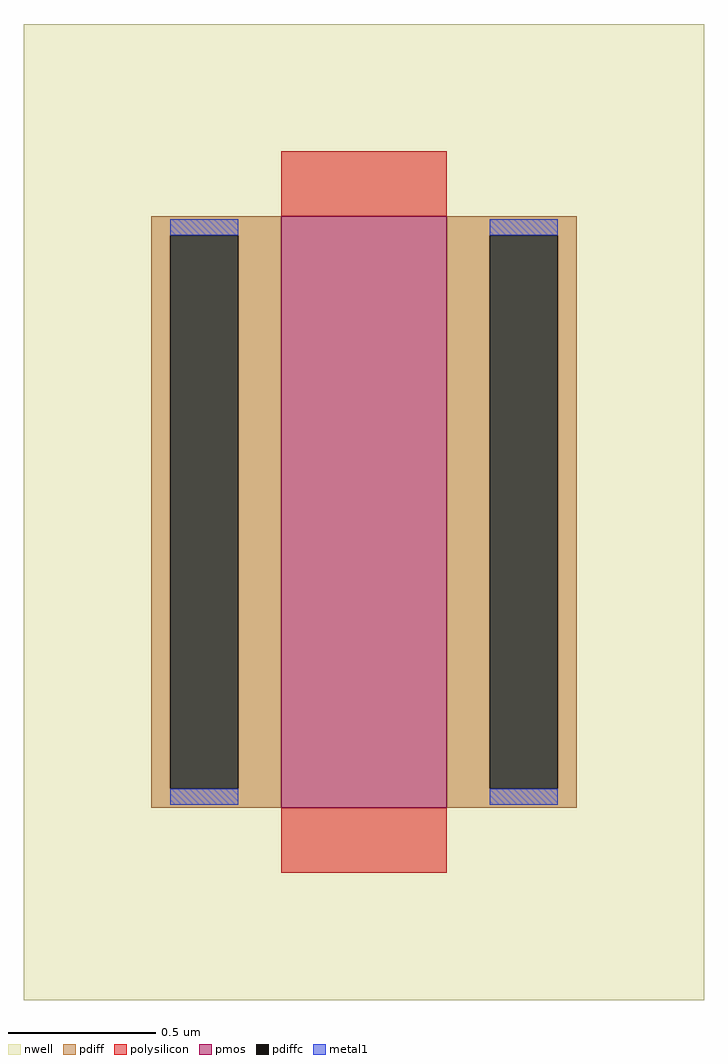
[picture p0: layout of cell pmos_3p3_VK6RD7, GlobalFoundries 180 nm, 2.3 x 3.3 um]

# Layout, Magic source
magic
tech gf180mcuC
magscale 1 10
<< nwell >>
rect -230 -330 230 330
<< pmos >>
rect -56 -200 56 200
<< pdiff >>
rect -144 187 -56 200
rect -144 -187 -131 187
rect -85 -187 -56 187
rect -144 -200 -56 -187
rect 56 187 144 200
rect 56 -187 85 187
rect 131 -187 144 187
rect 56 -200 144 -187
<< pdiffc >>
rect -131 -187 -85 187
rect 85 -187 131 187
<< polysilicon >>
rect -56 200 56 244
rect -56 -244 56 -200
<< metal1 >>
rect -131 187 -85 198
rect -131 -198 -85 -187
rect 85 187 131 198
rect 85 -198 131 -187
<< properties >>
string gencell pmos_3p3
string library gf180mcu
string parameters w 2 l 0.56 m 1 nf 1 diffcov 100 polycov 100 guard 0 glc 0 grc 0 gtc 0 gbc 0 tbcov 100 rlcov 100 topc 0 botc 0 poverlap 0 doverlap 1 lmin 0.28 wmin 0.22 full_metal 0 compatible {pmos_3p3 pmos_6p0}
<< end >>
